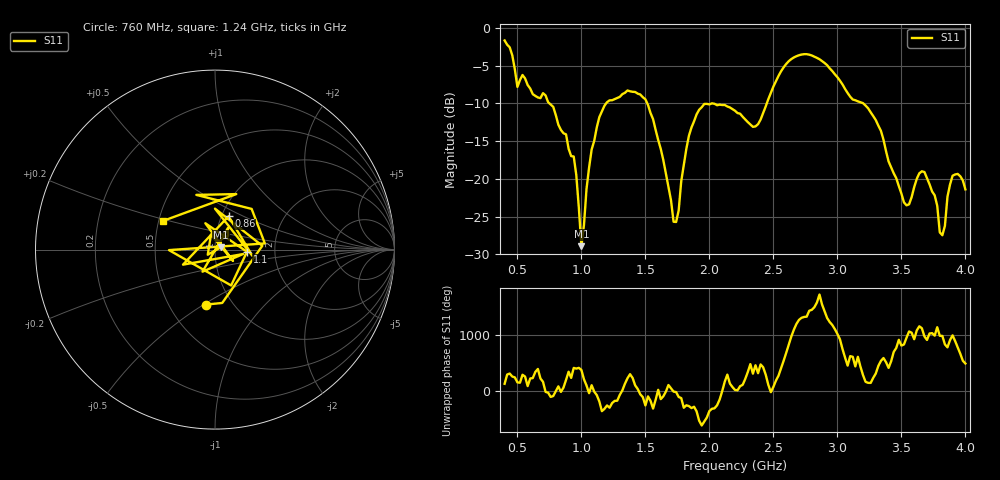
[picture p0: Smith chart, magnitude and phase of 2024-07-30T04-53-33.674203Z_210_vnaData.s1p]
!Created with skrf (http://scikit-rf.org).
# Hz S RI R 50.0
!freq ReS11 ImS11
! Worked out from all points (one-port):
!   181 points, 400 MHz to 4 GHz, reference 50 ohm
!   lowest |S11| = -28.9 dB at 1 GHz (marker M1), VSWR 1.07, Z = 53.4 + j1.42 ohm
!   |S11| at or under -10 dB: 750 MHz to 1.193 GHz (443.3 MHz wide, 45.6 % of centre); 1.515 GHz to 2.019 GHz (504.2 MHz wide, 28.5 % of centre); 3.202 GHz to end of sweep (the widest 3 of 4)
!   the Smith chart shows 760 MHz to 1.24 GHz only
!   S11 on the Smith chart (normalised r, x): 760 MHz: 0.75, -0.51; 860 MHz: 1.08, +0.42; 1.1 GHz: 1.43, -0.04; 1.24 GHz: 0.53, +0.19
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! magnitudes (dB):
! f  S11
! 400 MHz  -1.7
! 500 MHz  -7.8
! 540 MHz  -6.2
! 760 MHz  -10.2
! 860 MHz  -14.0
! 940 MHz  -17.0
! 1 GHz  -28.9
! 1.06 GHz  -18.5
! 1.1 GHz  -15.0
! 1.24 GHz  -9.6
! 1.3 GHz  -9.1
! 1.5 GHz  -9.5
! 1.62 GHz  -16.0
! 1.72 GHz  -25.7
! 1.76 GHz  -24.2
! 1.84 GHz  -14.3
! 1.92 GHz  -10.8
! 2.2 GHz  -11.0
! 2.38 GHz  -12.8
! 2.66 GHz  -3.9
! 2.86 GHz  -4.2
! 3.1 GHz  -9.1
! 3.3 GHz  -12.2
! 3.56 GHz  -23.4
! 3.68 GHz  -19.1
! 3.82 GHz  -27.5
! 3.9 GHz  -19.6
! 4 GHz  -21.4
